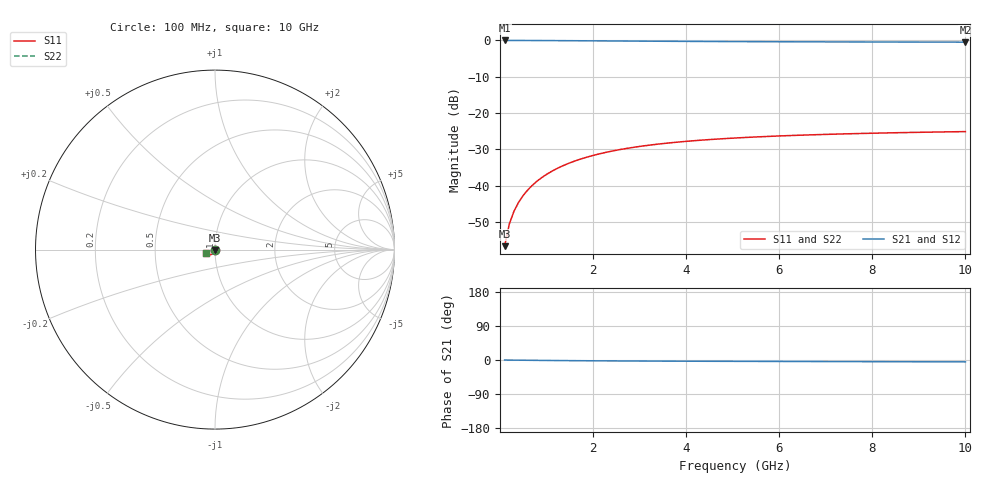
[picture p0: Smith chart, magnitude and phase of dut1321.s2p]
! Touchstone file exported from HFSS 2024.1.0
!  File:  C:/UserFiles/LocalFiles/RDL_TSV_Batchsim/temp_TSV1_1321_1780374475.aedt
!  Generated:  12:33:04 PM Jun  2, 2026
!  Design:  TSV1
!  Project:  temp_TSV1_1321_1780374475
!  Setup:  Setup1
!  Solution:  Sweep
! Variables:
!  dtsv = 12.26um
!  hbump = 3um
!  htsv = 75.88um
!  lrdl = 252.1521522um
!  p = 40
!  p1 = 43.59um
!  t = 500um
!  trdl = 3um
!  wrdl = 24.89489489um
# GHz S MA R 50.000000
! Terminal data exported
! Port[1] = TSV22_T1
! Port[2] = TSV22_T2
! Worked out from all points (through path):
!   100 points, 100 MHz to 10 GHz, reference 50 ohm
!   highest |S21| = 0.00 dB at 100 MHz (marker M1); lowest = -0.5 dB at 10 GHz (marker M2)
!   lowest |S11| = -56.6 dB at 100 MHz (marker M3), VSWR 1.00, Z = 50 - j0.147 ohm
!   |S11| at or under -10 dB: start of sweep to end of sweep
!   |S22| runs from -56.6 to -25.1 dB; largest |S21 - S12| = 5.9e-15
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0.1  0.001471 -87.8  0.9999 -0.1  0.9999 -0.1  0.001471 -87.8
! Gamma 0 0 0 0
! Port Impedance 50 0 50 0
0.2  0.002954 -91.0  0.9997 -0.2  0.9997 -0.2  0.002954 -91.0
0.3  0.00443 -93.2  0.9995 -0.4  0.9995 -0.4  0.00443 -93.2
0.4  0.005895 -95.0  0.9992 -0.5  0.9992 -0.5  0.005895 -95.0
0.5  0.007347 -96.7  0.9989 -0.6  0.9989 -0.6  0.007347 -96.7
0.6  0.008782 -98.4  0.9985 -0.7  0.9985 -0.7  0.008782 -98.4
0.7  0.0102 -100.0  0.998 -0.9  0.998 -0.9  0.0102 -100.0
0.8  0.0116 -101.5  0.9974 -1.0  0.9974 -1.0  0.0116 -101.5
0.9  0.01297 -103.0  0.9968 -1.1  0.9968 -1.1  0.01297 -103.0
1.1  0.01563 -105.9  0.9954 -1.3  0.9954 -1.3  0.01563 -105.9
1.4  0.01941 -110.1  0.993 -1.6  0.993 -1.6  0.01941 -110.1
1.6  0.02178 -112.7  0.9913 -1.8  0.9913 -1.8  0.02178 -112.7
1.8  0.024 -115.2  0.9895 -1.9  0.9895 -1.9  0.024 -115.2
2.1  0.0271 -118.7  0.9868 -2.2  0.9868 -2.2  0.0271 -118.7
2.5  0.03078 -123.0  0.9831 -2.4  0.9831 -2.4  0.03078 -123.0
2.9  0.03398 -126.9  0.9796 -2.7  0.9796 -2.7  0.03398 -126.9
3.4  0.03741 -131.2  0.9755 -2.9  0.9755 -2.9  0.03741 -131.2
4.2  0.04179 -137.0  0.9696 -3.3  0.9696 -3.3  0.04179 -137.0
5.1  0.04554 -142.3  0.9641 -3.6  0.9641 -3.6  0.04554 -142.3
6.7  0.05021 -149.5  0.9568 -4.0  0.9568 -4.0  0.05021 -149.5
8.4  0.05347 -155.2  0.9515 -4.5  0.9515 -4.5  0.05347 -155.2
10  0.05559 -159.4  0.9479 -5.0  0.9479 -5.0  0.05559 -159.4
